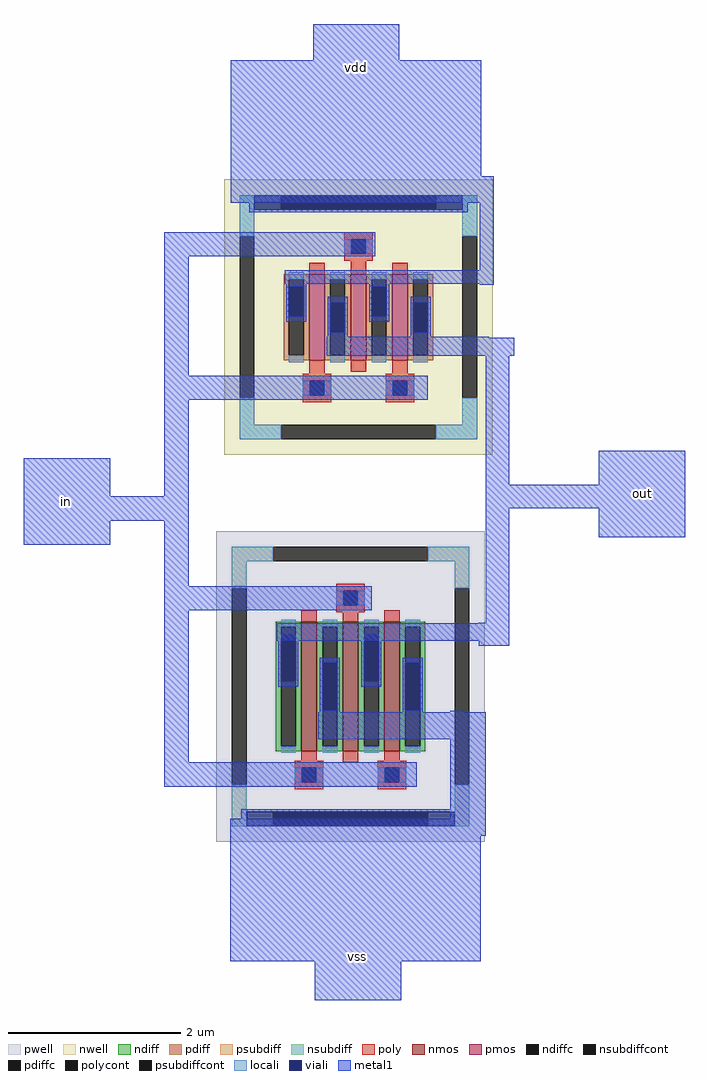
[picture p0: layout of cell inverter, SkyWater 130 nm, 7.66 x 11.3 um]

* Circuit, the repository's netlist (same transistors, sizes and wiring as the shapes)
** sch_path: /mnt/a/Marvel_project/inverter/xschem/inverter.sch
.subckt inverter in out vss vdd
*.PININFO in:I out:O vss:B vdd:B
XM1 out in vss vss sky130_fd_pr__nfet_01v8 L=0.18 W=4.5 nf=3 m=1
XM2 out in vdd vdd sky130_fd_pr__pfet_01v8 L=0.18 W=3 nf=3 m=1
.ends
.end

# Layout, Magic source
magic
tech sky130A
magscale 1 2
<< nwell >>
rect 1612 160 1988 204
<< pwell >>
rect 1496 -500 1978 -460
rect 1592 -728 1980 -666
rect 1950 -952 1980 -728
<< metal1 >>
rect 1580 844 1780 928
rect 1390 576 1970 844
rect 1390 514 1998 576
rect 1236 390 1724 446
rect 1236 114 1292 390
rect 1966 358 1998 514
rect 1514 326 1998 358
rect 1966 324 1998 326
rect 1612 202 1988 204
rect 1612 160 2046 202
rect 1236 58 1846 114
rect 910 -166 1110 -78
rect 1236 -166 1292 58
rect 910 -222 1292 -166
rect 910 -278 1110 -222
rect 1236 -374 1292 -222
rect 1980 -139 2034 160
rect 2242 -139 2442 -60
rect 1980 -193 2442 -139
rect 1236 -430 1716 -374
rect 1236 -782 1292 -430
rect 1980 -458 2034 -193
rect 2242 -260 2442 -193
rect 1964 -460 2034 -458
rect 1496 -500 2034 -460
rect 1964 -512 2034 -500
rect 1898 -666 1928 -662
rect 1592 -728 1980 -666
rect 1236 -838 1820 -782
rect 1898 -912 1980 -728
rect 1388 -952 1980 -912
rect 1388 -1242 1968 -952
rect 1584 -1332 1784 -1242
use sky130_fd_pr__nfet_01v8_KBZXWL  XM1
transform 1 0 1667 0 1 -606
box -311 -360 311 360
use sky130_fd_pr__pfet_01v8_XQ58Y7  XM2
transform 1 0 1685 0 1 249
box -311 -319 311 319
<< labels >>
flabel metal1 2242 -260 2442 -60 0 FreeSans 800 0 0 0 out
port 1 nsew
flabel metal1 910 -278 1110 -78 0 FreeSans 800 0 0 0 in
port 0 nsew
flabel metal1 1580 728 1780 928 0 FreeSans 800 0 0 0 vdd
port 3 nsew
flabel metal1 1584 -1332 1784 -1132 0 FreeSans 800 0 0 0 vss
port 2 nsew
<< end >>

# cell sky130_fd_pr__nfet_01v8_KBZXWL: kit device sky130_fd_pr__nfet_01v8, w 1.5 l 0.18 m 1 nf 3 diffcov 100 polycov 100 guard 1 glc 1 grc 1 gtc 1 gbc 1 tbcov 100 rlcov 100 topc 1 botc 1 poverlap 0 doverlap 1 lmin 0.15 wmin 0.42 class mosfet compatible {sky130_fd_pr__nfet_01v8 sky130_fd_pr__nfet_01v8_lvt sky130_fd_bs_flash__special_sonosfet_star sky130_fd_pr__nfet_g5v0d10v5 sky130_fd_pr__nfet_05v0_nvt sky130_fd_pr__nfet_03v3_nvt} full_metal 1 conn_gates 0 viasrc 40 viadrn -40 viagate 100 viagb 100 viagr 0 viagl 0 viagt 0 doports 1

# cell sky130_fd_pr__pfet_01v8_XQ58Y7: kit device sky130_fd_pr__pfet_01v8, w 1.0 l 0.18 m 1 nf 3 diffcov 100 polycov 100 guard 1 glc 1 grc 1 gtc 1 gbc 1 tbcov 100 rlcov 100 topc 1 botc 1 poverlap 0 doverlap 1 lmin 0.15 wmin 0.42 class mosfet compatible {sky130_fd_pr__pfet_01v8 sky130_fd_pr__pfet_01v8_lvt sky130_fd_pr__pfet_01v8_hvt sky130_fd_pr__pfet_g5v0d10v5} full_metal 1 conn_gates 0 viasrc 40 viadrn -40 viagate 100 viagb 0 viagr 0 viagl 0 viagt 100 doports 1
